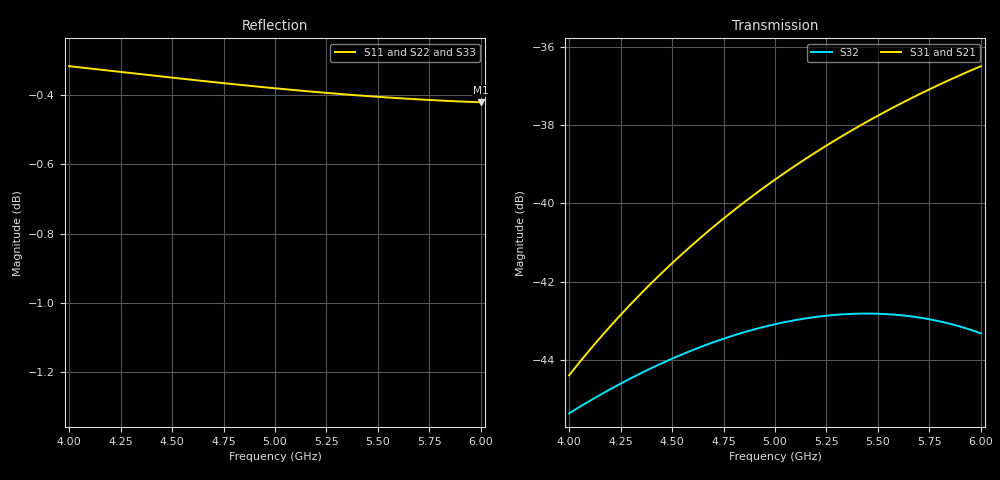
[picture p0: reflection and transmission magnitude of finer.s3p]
! yapnr rf: divider-osh-w-robust, footprint re-simulated (refine 3)
! spec sha256 f072ce9885e97b327236de2692c1743046cec8157b5d87c414d6f32f2c01234a
! 3 ports renormalized to 50 ohm, e^(+jwt) convention
# GHz S RI R 50
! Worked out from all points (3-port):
!   81 points, 4 GHz to 6 GHz, reference 50 ohm
!   strongest paths, dB at 4 GHz, 4.5 GHz, 5 GHz, 5.5 GHz, 6 GHz:
!     S31: -44.4, -41.5, -39.4, -37.8, -36.5
!     S21: -44.4, -41.5, -39.4, -37.8, -36.5
!     S32: -45.4, -44.0, -43.1, -42.8, -43.3
!   lowest |S11| = -0.4 dB at 6 GHz (marker M1), VSWR 41.17, Z = 1.22 - j2.34 ohm
!   |S11| at or under -10 dB: nowhere
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4  -0.4155 -0.8699  -0.00399 0.00438  -0.00399 0.00438
   -0.0044 0.00412  -0.4201 -0.8691  -0.0037 -0.00392
   -0.0044 0.00412  -0.0037 -0.00392  -0.4201 -0.8691
4.225  -0.5116 -0.8152  -0.0039 0.00573  -0.0039 0.00573
       -0.00454 0.00543  -0.5155 -0.8146  -0.00491 -0.00315
       -0.00454 0.00543  -0.00491 -0.00315  -0.5155 -0.8146
4.475  -0.6102 -0.7419  -0.00338 0.00725  -0.00338 0.00725
       -0.00434 0.00703  -0.6137 -0.7415  -0.006 -0.00188
       -0.00434 0.00703  -0.006 -0.00188  -0.6137 -0.7415
4.75  -0.7071 -0.6473  -0.00229 0.0088  -0.00229 0.0088
      -0.00362 0.00885  -0.7106 -0.647  -0.00671 -0.000114
      -0.00362 0.00885  -0.00671 -0.000114  -0.7106 -0.647
5  -0.7831 -0.5501  -0.000865 0.00995  -0.000865 0.00995
   -0.00246 0.0104  -0.787 -0.5494  -0.00681 0.00166
   -0.00246 0.0104  -0.00681 0.00166  -0.787 -0.5494
5.25  -0.8462 -0.444  0.0009 0.0107  0.0009 0.0107
      -0.000825 0.0118  -0.8506 -0.4421  -0.00634 0.00338
      -0.000825 0.0118  -0.00634 0.00338  -0.8506 -0.4421
5.5  -0.8953 -0.3305  0.00289 0.0111  0.00289 0.0111
     0.00126 0.0129  -0.9002 -0.3266  -0.00535 0.00485
     0.00126 0.0129  -0.00535 0.00485  -0.9002 -0.3266
5.75  -0.9295 -0.2115  0.00499 0.011  0.00499 0.011
      0.00373 0.0135  -0.9346 -0.2045  -0.00397 0.0059
      0.00373 0.0135  -0.00397 0.0059  -0.9346 -0.2045
5.875  -0.9409 -0.1506  0.00604 0.0107  0.00604 0.0107
       0.00507 0.0136  -0.9458 -0.1417  -0.00319 0.00622
       0.00507 0.0136  -0.00319 0.00622  -0.9458 -0.1417
6  -0.9484 -0.0891  0.00707 0.0104  0.00707 0.0104
   0.00646 0.0135  -0.9528 -0.0779  -0.00238 0.00639
   0.00646 0.0135  -0.00238 0.00639  -0.9528 -0.0779
